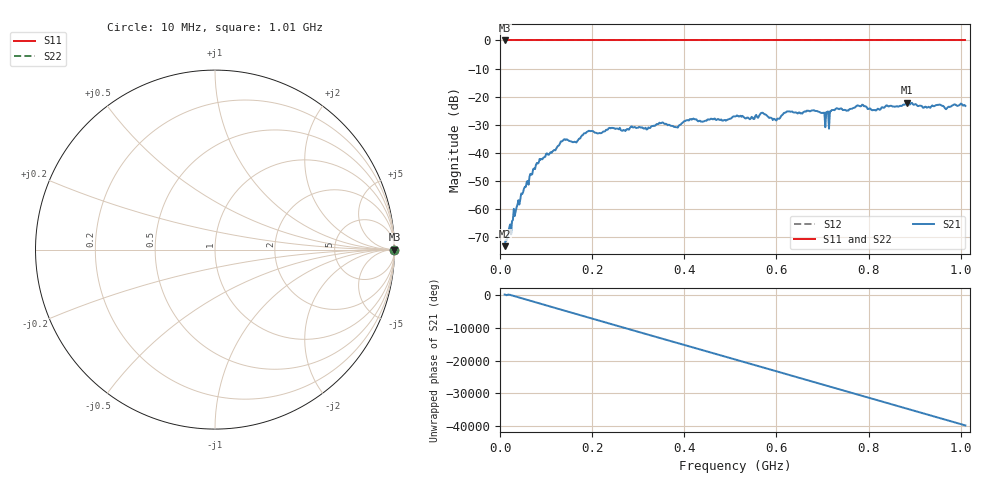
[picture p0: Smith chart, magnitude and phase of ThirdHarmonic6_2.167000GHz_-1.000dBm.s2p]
! 8/17/2025 1:51:46 AM
! C:\ANRITSUVNA\TEMP\TEMP.S2P
! CHANNEL.1
! TR.MEASUREMENT
! RAW.DATA
! RF.CORRECTION.OFF
! AVERAGING.OFF
! IF.BANDWIDTH: 5KHZ
! SWEEPTYPE:  FREQ.SWEEP(Linear)
! Reference Plane Port Info
! PORT:  PORT1  PORT2
! DISTANCE:  0  m  0  m
! TIME:  0  s  0  s
! PHASE.OFFSET:  0  deg.  0  deg.
! LOSS:  0  dB  0  dB
! REF.LOSS:  0  dB  0  dB
! REF.FREQ:  0  Hz  0  Hz
! Power Info
! POWER:  -20  dBm  -20  dBm
! EFF.POWER:  -20  dBm  -20  dBm
! SOURCE.ATTEN:  0  dB  0  dB
! TEST.ATTEN:  0  dB  0  dB
# GHZ S RI R 50.0
! FREQ.GHZ  S11RE  S11IM  S21RE  S21IM  S12RE  S12IM  S22RE  S22IM
!; PortSelection: Port_12
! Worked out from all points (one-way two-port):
!   501 points, 10 MHz to 1.01 GHz, reference 50 ohm
!   highest |S21| = -22.22 dB at 884 MHz (marker M1); lowest = -73.3 dB at 10 MHz (marker M2)
!   lowest |S11| = 0.0 dB at 10 MHz (marker M3)
!   |S11| at or under -10 dB: nowhere
!   |S22| runs from 0.0 to 0.0 dB; largest |S21 - S12| = 1.1
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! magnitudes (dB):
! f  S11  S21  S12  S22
! 10 MHz  0.0  -73.3  0.0  0.0
! 50 MHz  0.0  -54.1  0.0  0.0
! 82 MHz  0.0  -43.8  0.0  0.0
! 136 MHz  0.0  -35.8  0.0  0.0
! 162 MHz  0.0  -36.1  0.0  0.0
! 178 MHz  0.0  -33.8  0.0  0.0
! 194 MHz  0.0  -32.2  0.0  0.0
! 322 MHz  0.0  -31.0  0.0  0.0
! 344 MHz  0.0  -29.7  0.0  0.0
! 382 MHz  0.0  -30.9  0.0  0.0
! 416 MHz  0.0  -28.2  0.0  0.0
! 510 MHz  0.0  -27.1  0.0  0.0
! 548 MHz  0.0  -27.4  0.0  0.0
! 570 MHz  0.0  -25.8  0.0  0.0
! 596 MHz  0.0  -28.0  0.0  0.0
! 624 MHz  0.0  -25.3  0.0  0.0
! 678 MHz  0.0  -24.9  0.0  0.0
! 710 MHz  0.0  -25.4  0.0  0.0
! 732 MHz  0.0  -24.2  0.0  0.0
! 844 MHz  0.0  -23.5  0.0  0.0
! 884 MHz  0.0  -22.2  0.0  0.0
! 1.01 GHz  0.0  -23.3  0.0  0.0
